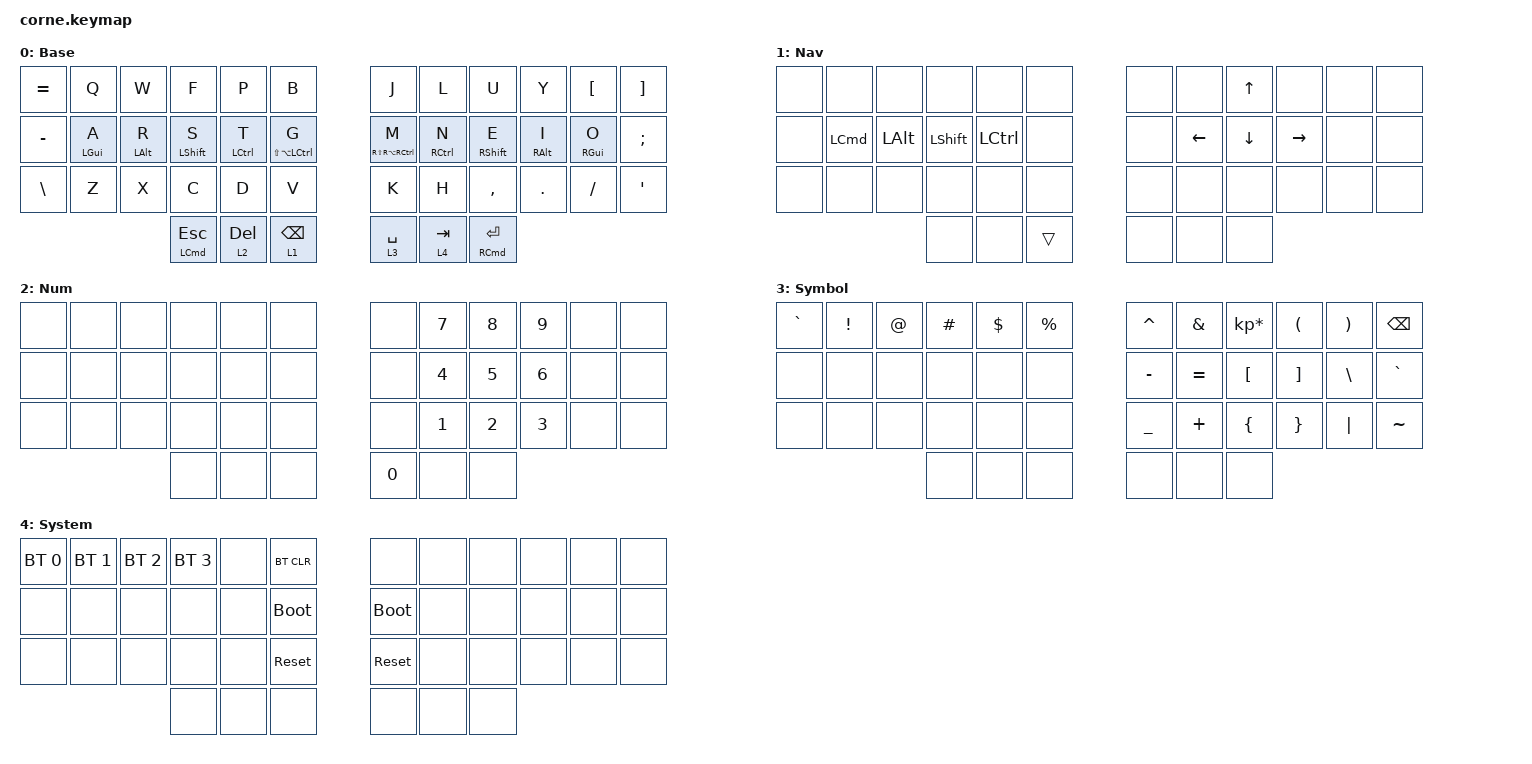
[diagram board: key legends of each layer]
/*
 * Copyright (c) 2020 The ZMK Contributors
 *
 * SPDX-License-Identifier: MIT
 */

#include <behaviors.dtsi>
#include <dt-bindings/zmk/bt.h>
#include <dt-bindings/zmk/keys.h>

/ {
    behaviors {
        HRMR: HRMR {
            compatible = "zmk,behavior-hold-tap";
            label = "HRMR";
            bindings = <&kp>, <&kp>;

            #binding-cells = <2>;
            tapping-term-ms = <280>;
            quick-tap-ms = <175>;
            flavor = "balanced";
            hold-trigger-on-release;
            hold-trigger-key-positions = <0 2 3 4 5 1 12 13 14 15 16 17 24 25 26 27 28 29 36 37 38>;
            require-prior-idle-ms = <150>;
        };

        HRML: HRML {
            compatible = "zmk,behavior-hold-tap";
            label = "HRML";
            bindings = <&kp>, <&kp>;

            #binding-cells = <2>;
            tapping-term-ms = <280>;
            quick-tap-ms = <175>;
            flavor = "balanced";
            hold-trigger-key-positions = <6 7 8 9 10 11 18 19 20 21 22 23 30 31 32 33 34 35 30 31 39 40 41>;
            hold-trigger-on-release;
            require-prior-idle-ms = <150>;
        };

        LDTR: LDTR {
            compatible = "zmk,behavior-hold-tap";
            label = "LAYER_DOUBLE_TAP_REPEAT";
            bindings = <&mo>, <&kp>;

            #binding-cells = <2>;
            tapping-term-ms = <200>;
            flavor = "hold-preferred";
            hold-trigger-key-positions = <19 20 21 8>;
            quick-tap-ms = <250>;
        };

        CMD_HOLD: CMD_HOLD {
            compatible = "zmk,behavior-hold-tap";
            label = "CMD_HOLD";
            bindings = <&kp>, <&kp>;

            #binding-cells = <2>;
            tapping-term-ms = <200>;
        };

        CDTR: CDTR {
            compatible = "zmk,behavior-hold-tap";
            label = "CMD_DOUBLE_TAP_REPEAT";
            bindings = <&kp>, <&kp>;

            #binding-cells = <2>;
            tapping-term-ms = <200>;
            flavor = "hold-preferred";
            quick-tap-ms = <250>;
        };
    };

    keymap {
        compatible = "zmk,keymap";

        default_layer {
            // -----------------------------------------------------------------------------------------
            // |  TAB |  Q  |  W  |  E  |  R  |  T  |   |  Y  |  U   |  I  |  O  |  P  | BKSP |
            // | CTRL |  A  |  S  |  D  |  F  |  G  |   |  H  |  J   |  K  |  L  |  ;  |  '   |
            // | SHFT |  Z  |  X  |  C  |  V  |  B  |   |  N  |  M   |  ,  |  .  |  /  | ESC  |
            //                    | GUI | LWR | SPC |   | ENT | RSE  | ALT |

            display-name = "Base";
            bindings = <
&kp EQUAL      &kp Q             &kp W             &kp F               &kp P                 &kp B                           &kp J                          &kp L                  &kp U                &kp Y              &kp LEFT_BRACKET   &kp RIGHT_BRACKET
&kp MINUS      &HRML LEFT_GUI A  &HRML LEFT_ALT R  &HRML LEFT_SHIFT S  &HRML LEFT_CONTROL T  &HRML LS(LA(LEFT_CONTROL)) G    &HRMR RS(RA(RIGHT_CONTROL)) M  &HRMR RIGHT_CONTROL N  &HRMR RIGHT_SHIFT E  &HRMR RIGHT_ALT I  &HRMR RIGHT_GUI O  &kp SEMICOLON
&kp BACKSLASH  &kp Z             &kp X             &kp C               &kp D                 &kp V                           &kp K                          &kp H                  &kp COMMA            &kp DOT            &kp FSLH           &kp SINGLE_QUOTE
                                                   &CMD_HOLD LCMD ESC  &LDTR 2 DEL           &LDTR 1 BACKSPACE               &LDTR 3 SPACE                  &LDTR 4 TAB            &CDTR RCMD ENTER
            >;
        };

        nav_layer {
            // -----------------------------------------------------------------------------------------
            // |  TAB |  1  |  2  |  3  |  4  |  5  |   |  6  |  7  |  8  |  9  |  0  | BKSP |
            // | BTCLR| BT1 | BT2 | BT3 | BT4 | BT5 |   | LFT | DWN |  UP | RGT |     |      |
            // | SHFT |     |     |     |     |     |   |     |     |     |     |     |      |
            //                    | GUI |     | SPC |   | ENT |     | ALT |

            display-name = "Nav";
            bindings = <
&none  &none             &none         &none           &none             &none     &none  &none     &kp UP    &none      &none  &none
&none  &kp LEFT_COMMAND  &kp LEFT_ALT  &kp LEFT_SHIFT  &kp LEFT_CONTROL  &none     &none  &kp LEFT  &kp DOWN  &kp RIGHT  &none  &none
&none  &none             &none         &none           &none             &none     &none  &none     &none     &none      &none  &none
                                       &none           &none             &trans    &none  &none     &none
            >;
        };

        num_layer {
            bindings = <
&none  &none  &none  &none  &none  &none    &none         &kp N7  &kp N8  &kp N9  &none  &none
&none  &none  &none  &none  &none  &none    &none         &kp N4  &kp N5  &kp N6  &none  &none
&none  &none  &none  &none  &none  &none    &none         &kp N1  &kp N2  &kp N3  &none  &none
                     &none  &none  &none    &kp NUMBER_0  &none   &none
            >;

            label = "Num";
        };

        symbol_layer {
            // -----------------------------------------------------------------------------------------
            // |  TAB |  !  |  @  |  #  |  $  |  %  |   |  ^  |  &  |  *  |  (  |  )  | BKSP |
            // | CTRL |     |     |     |     |     |   |  -  |  =  |  [  |  ]  |  \  |  `   |
            // | SHFT |     |     |     |     |     |   |  _  |  +  |  {  |  }  | "|" |  ~   |
            //                    | GUI |     | SPC |   | ENT |     | ALT |

            display-name = "Symbol";
            bindings = <
&kp GRAVE  &kp EXCL  &kp AT  &kp HASH  &kp DLLR  &kp PRCNT    &kp CARET  &kp AMPS   &kp KP_MULTIPLY  &kp LPAR  &kp RPAR  &kp BSPC
&none      &none     &none   &none     &none     &none        &kp MINUS  &kp EQUAL  &kp LBKT         &kp RBKT  &kp BSLH  &kp GRAVE
&none      &none     &none   &none     &none     &none        &kp UNDER  &kp PLUS   &kp LBRC         &kp RBRC  &kp PIPE  &kp TILDE
                             &none     &none     &none        &none      &none      &none
            >;
        };

        system_layer {
            bindings = <
&bt BT_SEL 0  &bt BT_SEL 1  &bt BT_SEL 2  &bt BT_SEL 3  &none  &bt BT_CLR     &none        &none  &none  &none  &none  &none
&none         &none         &none         &none         &none  &bootloader    &bootloader  &none  &none  &none  &none  &none
&none         &none         &none         &none         &none  &sys_reset     &sys_reset   &none  &none  &none  &none  &none
                                          &none         &none  &none          &none        &none  &none
            >;

            label = "System";
        };
    };
};
